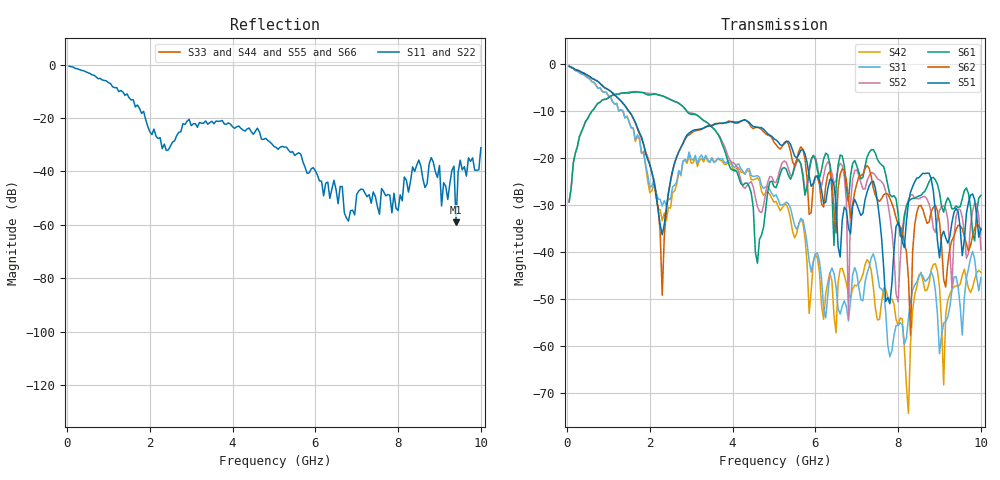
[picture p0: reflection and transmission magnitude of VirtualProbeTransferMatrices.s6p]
# MHz MA S R 50.0
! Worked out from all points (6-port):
!   200 points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, 50 MHz to 10 GHz, reference 50 ohm
!   strongest paths, dB at 50 MHz, 2.55 GHz, 5.05 GHz, 7.55 GHz, 10 GHz:
!     S51: -0.5, -22.7, -16.2, -32.7, -35.0
!     S62: -0.5, -22.9, -17.2, -29.3, -35.3
!     S61: -29.4, -7.8, -26.3, -21.1, -28.0
!     S52: -29.4, -7.8, -25.3, -24.7, -39.5
!     S31: -0.6, -26.2, -27.9, -47.6, -45.5
!     S42: -0.6, -27.4, -29.3, -54.4, -44.3
!   lowest |S11| = -59.1 dB at 9.4 GHz (marker M1), VSWR 1.00, Z = 50.1 + j0.0361 ohm
!   |S11| at or under -10 dB: 1.246 GHz to 1.265 GHz (19.56 MHz wide, 1.56 % of centre); 1.328 GHz to end of sweep
